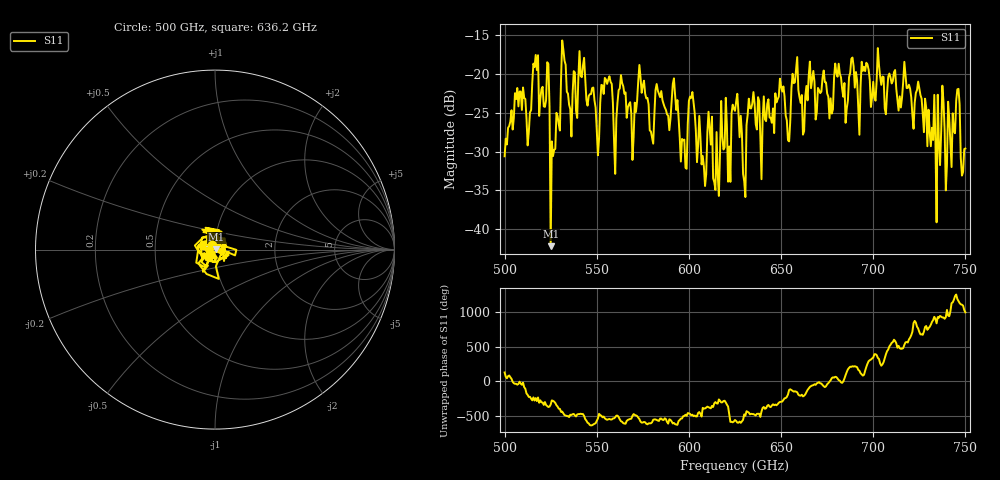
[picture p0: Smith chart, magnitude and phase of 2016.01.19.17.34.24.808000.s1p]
!Created with skrf (http://scikit-rf.org).
# GHz S RI R 50.0
!freq ReS11 ImS11
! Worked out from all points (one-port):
!   401 points, 500 GHz to 750 GHz, reference 50 ohm
!   lowest |S11| = -42.2 dB at 525 GHz (marker M1), VSWR 1.02, Z = 50.7 + j0.272 ohm
!   |S11| at or under -10 dB: start of sweep to end of sweep
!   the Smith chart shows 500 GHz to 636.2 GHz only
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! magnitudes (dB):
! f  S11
! 500 GHz  -30.6
! 506.9 GHz  -21.8
! 513.1 GHz  -27.5
! 516.9 GHz  -17.5
! 523.1 GHz  -18.5
! 525 GHz  -42.2
! 526.2 GHz  -30.6
! 531.2 GHz  -15.7
! 535.6 GHz  -24.5
! 541.9 GHz  -20.4
! 550.6 GHz  -30.5
! 562.5 GHz  -21.9
! 593.8 GHz  -23.4
! 597.5 GHz  -28.5
! 601.9 GHz  -22.3
! 608.1 GHz  -32.0
! 611.2 GHz  -27.0
! 615 GHz  -27.5
! 625 GHz  -24.8
! 630 GHz  -33.8
! 633.8 GHz  -24.4
! 653.8 GHz  -28.5
! 656.2 GHz  -20.0
! 687.5 GHz  -19.8
! 718.8 GHz  -21.8
! 735 GHz  -22.7
! 745.6 GHz  -22.0
! 750 GHz  -29.6
